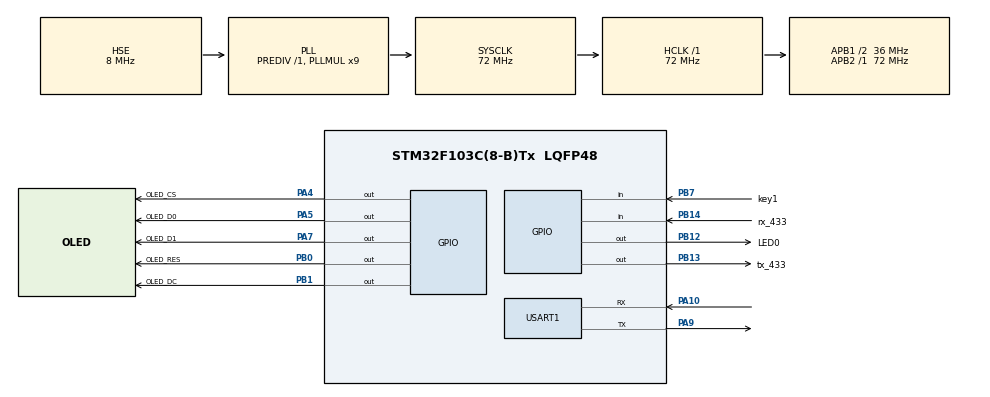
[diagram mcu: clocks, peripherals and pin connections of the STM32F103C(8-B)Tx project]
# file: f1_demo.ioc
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Mcu.Family=STM32F1
Mcu.Name=STM32F103C(8-B)Tx
Mcu.Package=LQFP48
NVIC.PriorityGroup=NVIC_PRIORITYGROUP_4
NVIC.TIM3_IRQn=true\:0\:0\:false\:false\:true\:true\:true
PA10.Mode=Asynchronous
PA10.Signal=USART1_RX
PA13.Mode=JTAG_4_pins
PA13.Signal=SYS_JTMS-SWDIO
PA14.Mode=JTAG_4_pins
PA14.Signal=SYS_JTCK-SWCLK
PA15.Mode=JTAG_4_pins
PA15.Signal=SYS_JTDI
PA4.GPIO_Label=OLED_CS
PA4.Signal=GPIO_Output
PA5.GPIO_Label=OLED_D0
PA5.Signal=GPIO_Output
PA7.GPIO_Label=OLED_D1
PA7.Signal=GPIO_Output
PA9.Mode=Asynchronous
PA9.Signal=USART1_TX
PB0.GPIO_Label=OLED_RES
PB0.Signal=GPIO_Output
PB1.GPIO_Label=OLED_DC
PB1.Signal=GPIO_Output
PB12.GPIO_Label=LED0
PB12.Signal=GPIO_Output
PB13.GPIO_Label=tx_433
PB13.Signal=GPIO_Output
PB14.GPIO_Label=rx_433
PB14.Signal=GPIO_Input
PB3.Mode=JTAG_4_pins
PB3.Signal=SYS_JTDO-TRACESWO
PB7.GPIO_Label=key1
PB7.GPIO_PuPd=GPIO_PULLUP
PB7.Signal=GPIO_Input
PD0-OSC_IN.Mode=HSE-External-Oscillator
PD0-OSC_IN.Signal=RCC_OSC_IN
PD1-OSC_OUT.Mode=HSE-External-Oscillator
PD1-OSC_OUT.Signal=RCC_OSC_OUT
ProjectManager.HeapSize=0x200
ProjectManager.StackSize=0x400
ProjectManager.TargetToolchain=SW4STM32
RCC.AHBFreq_Value=72000000
RCC.APB1CLKDivider=RCC_HCLK_DIV2
RCC.APB1Freq_Value=36000000
RCC.APB1TimFreq_Value=72000000
RCC.APB2Freq_Value=72000000
RCC.APB2TimFreq_Value=72000000
RCC.HCLKFreq_Value=72000000
RCC.PLLMUL=RCC_PLL_MUL9
RCC.PLLSourceVirtual=RCC_PLLSOURCE_HSE
RCC.SYSCLKFreq_VALUE=72000000
RCC.SYSCLKSource=RCC_SYSCLKSOURCE_PLLCLK
RCC.USBFreq_Value=72000000
TIM3.Period=99
TIM3.Prescaler=71
USART1.VirtualMode=VM_ASYNC
VP_TIM3_VS_ClockSourceINT.Mode=Internal
board=custom

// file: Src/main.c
/* USER CODE BEGIN Header */
/**
  ******************************************************************************
  * @file           : main.c
  * @brief          : Main program body
  ******************************************************************************
  * @attention
  *
  * <h2><center>&copy; Copyright (c) 2020 STMicroelectronics.
  * All rights reserved.</center></h2>
  *
  * This software component is licensed by ST under BSD 3-Clause license,
  * the "License"; You may not use this file except in compliance with the
  * License. You may obtain a copy of the License at:
  *                        opensource.org/licenses/BSD-3-Clause
  *
  ******************************************************************************
  */
/* USER CODE END Header */

#include "main.h"
#include "tim.h"
#include "usart.h"
#include "gpio.h"

/* USER CODE BEGIN Includes */
#include "Tx433Lin.h"
#include "Control.h"
#include "oled.h"
#include "Tx433Remote.h"
#include "keeloq_lock.h"
#include "bmp.h"
#include "stdio.h"
/* USER CODE END Includes */

/* USER CODE BEGIN PTD */
/*printf*/
#if 1
int _write(int fd, char *ptr, int len)
{
    HAL_UART_Transmit(&huart1, (uint8_t*)ptr, len, 0xFFFF);
    return len;
}
#endif
/* USER CODE END PTD */

void SystemClock_Config(void);

int main(void)
{
  /* USER CODE BEGIN 1 */
    u8 t;
  /* USER CODE END 1 */

  /* MCU Configuration--------------------------------------------------------*/

  /* Reset of all peripherals, Initializes the Flash interface and the Systick. */
  HAL_Init();

  /* Configure the system clock */
  SystemClock_Config();

  /* Initialize all configured peripherals */
  MX_GPIO_Init();
  MX_TIM3_Init();
  MX_USART1_UART_Init();
  /* USER CODE BEGIN 2 */
//    OLED_Init();
//    OLED_ColorTurn(0);//0正常显示�?1 反色显示
//    OLED_DisplayTurn(0);//0正常显示 1 屏幕翻转显示
//    t=' ';
    NLF_DEFINE();
    AskInit();
    Tx433IrInit();
    HAL_TIM_Base_Start_IT(&htim3);
    HAL_GPIO_WritePin(GPIOB,GPIO_PIN_12,GPIO_PIN_SET);
  /* USER CODE END 2 */

  /* Infinite loop */
  while (1)
  {

    /* USER CODE BEGIN 3 */

    KeyMenu();
   // HAL_UART_Transmit(&huart1,"\r\nabc\r\n",7,10);
//    printf(" 123456qwe !@#$\r\n");
//    HAL_Delay(500);
/*      OLED_ShowPicture(0,0,128,8,BMP1);
      HAL_Delay(500);
      OLED_Clear();
      OLED_ShowChinese(0,0,0,16);//�?
      OLED_ShowChinese(18,0,1,16);//�?
      OLED_ShowChinese(36,0,2,16);//�?
      OLED_ShowChinese(54,0,3,16);//�?
      OLED_ShowChinese(72,0,4,16);//�?
      OLED_ShowChinese(90,0,5,16);//�?
      OLED_ShowChinese(108,0,6,16);//�?
      OLED_ShowString(8,16,"ZHONGJINGYUAN",16);
      OLED_ShowString(20,32,"2014/05/01",16);
      OLED_ShowString(0,48,"ASCII:",16);
      OLED_ShowString(63,48,"CODE:",16);
      OLED_ShowChar(48,48,t,16);//显示ASCII字符
      t++;
      if(t>'~')t=' ';
      OLED_ShowNum(103,48,t,3,16);
      OLED_Refresh();
      HAL_Delay(500);
      OLED_Clear();
      OLED_ShowChinese(0,0,0,16);  //16*16 �?
      OLED_ShowChinese(16,0,0,24); //24*24 �?
      OLED_ShowChinese(24,20,0,32);//32*32 �?
      OLED_ShowChinese(64,0,0,64); //64*64 �?
      OLED_Refresh();
      HAL_Delay(500);
      OLED_Clear();
      OLED_ShowString(0,0,"ABC",12);//6*12 “ABC�?
      OLED_ShowString(0,12,"ABC",16);//8*16 “ABC�?
      OLED_ShowString(0,28,"ABC",24);//12*24 “ABC�?
      OLED_Refresh();
      HAL_Delay(500);
      OLED_ScrollDisplay(11,4);*/
  }
  /* USER CODE END 3 */
}

void SystemClock_Config(void)
{
  RCC_OscInitTypeDef RCC_OscInitStruct = {0};
  RCC_ClkInitTypeDef RCC_ClkInitStruct = {0};

  /** Initializes the CPU, AHB and APB busses clocks
  */
  RCC_OscInitStruct.OscillatorType = RCC_OSCILLATORTYPE_HSE;
  RCC_OscInitStruct.HSEState = RCC_HSE_ON;
  RCC_OscInitStruct.HSEPredivValue = RCC_HSE_PREDIV_DIV1;
  RCC_OscInitStruct.HSIState = RCC_HSI_ON;
  RCC_OscInitStruct.PLL.PLLState = RCC_PLL_ON;
  RCC_OscInitStruct.PLL.PLLSource = RCC_PLLSOURCE_HSE;
  RCC_OscInitStruct.PLL.PLLMUL = RCC_PLL_MUL9;
  if (HAL_RCC_OscConfig(&RCC_OscInitStruct) != HAL_OK)
  {
    Error_Handler();
  }
  /** Initializes the CPU, AHB and APB busses clocks
  */
  RCC_ClkInitStruct.ClockType = RCC_CLOCKTYPE_HCLK|RCC_CLOCKTYPE_SYSCLK
                              |RCC_CLOCKTYPE_PCLK1|RCC_CLOCKTYPE_PCLK2;
  RCC_ClkInitStruct.SYSCLKSource = RCC_SYSCLKSOURCE_PLLCLK;
  RCC_ClkInitStruct.AHBCLKDivider = RCC_SYSCLK_DIV1;
  RCC_ClkInitStruct.APB1CLKDivider = RCC_HCLK_DIV2;
  RCC_ClkInitStruct.APB2CLKDivider = RCC_HCLK_DIV1;

  if (HAL_RCC_ClockConfig(&RCC_ClkInitStruct, FLASH_LATENCY_2) != HAL_OK)
  {
    Error_Handler();
  }
}

void Error_Handler(void)
{
}

/************************ (C) COPYRIGHT STMicroelectronics *****END OF FILE****/
